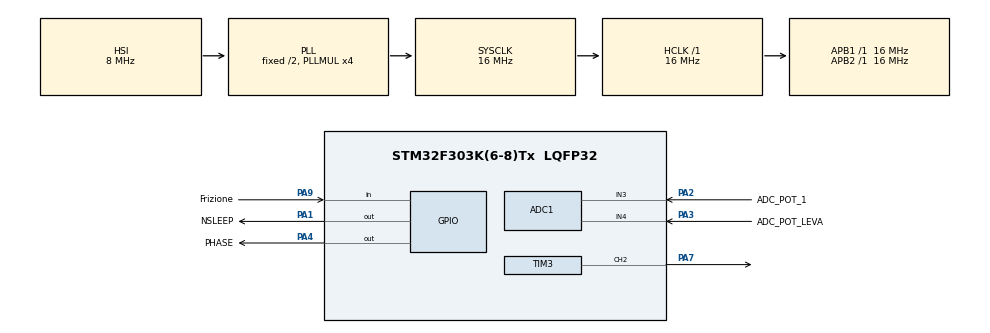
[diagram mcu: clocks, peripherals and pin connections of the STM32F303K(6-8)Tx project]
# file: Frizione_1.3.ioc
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ADC1.Channel-0\#ChannelRegularConversion=ADC_CHANNEL_3
ADC1.Channel-1\#ChannelRegularConversion=ADC_CHANNEL_4
ADC1.ContinuousConvMode=ENABLE
ADC1.DMAContinuousRequests=ENABLE
ADC1.NbrOfConversion=2
ADC1.NbrOfConversionFlag=1
ADC1.Offset-0\#ChannelRegularConversion=0
ADC1.Offset-1\#ChannelRegularConversion=0
ADC1.OffsetNumber-0\#ChannelRegularConversion=ADC_OFFSET_NONE
ADC1.OffsetNumber-1\#ChannelRegularConversion=ADC_OFFSET_NONE
ADC1.Rank-0\#ChannelRegularConversion=1
ADC1.Rank-1\#ChannelRegularConversion=2
ADC1.SamplingTime-0\#ChannelRegularConversion=ADC_SAMPLETIME_181CYCLES_5
ADC1.SamplingTime-1\#ChannelRegularConversion=ADC_SAMPLETIME_181CYCLES_5
ADC1.SubFamily=STM32F303x8
ADC1.master=1
Dma.ADC1.0.Direction=DMA_PERIPH_TO_MEMORY
Dma.ADC1.0.Instance=DMA1_Channel1
Dma.ADC1.0.MemDataAlignment=DMA_MDATAALIGN_WORD
Dma.ADC1.0.MemInc=DMA_MINC_ENABLE
Dma.ADC1.0.Mode=DMA_CIRCULAR
Dma.ADC1.0.PeriphDataAlignment=DMA_PDATAALIGN_HALFWORD
Dma.ADC1.0.PeriphInc=DMA_PINC_DISABLE
Dma.ADC1.0.Priority=DMA_PRIORITY_LOW
Dma.Request0=ADC1
Mcu.Family=STM32F3
Mcu.Name=STM32F303K(6-8)Tx
Mcu.Package=LQFP32
NVIC.DMA1_Channel1_IRQn=true\:0\:0\:false\:false\:true\:false\:true
NVIC.PriorityGroup=NVIC_PRIORITYGROUP_4
PA1.GPIO_Label=NSLEEP
PA1.GPIO_PuPd=GPIO_PULLDOWN
PA1.Signal=GPIO_Output
PA2.GPIO_Label=ADC_POT_1
PA2.Mode=IN3-Single-Ended
PA2.Signal=ADC1_IN3
PA3.GPIO_Label=ADC_POT_LEVA
PA3.Mode=IN4-Single-Ended
PA3.Signal=ADC1_IN4
PA4.GPIO_Label=PHASE
PA4.GPIO_PuPd=GPIO_PULLDOWN
PA4.GPIO_Speed=GPIO_SPEED_FREQ_HIGH
PA4.Signal=GPIO_Output
PA7.Signal=S_TIM3_CH2
PA9.GPIO_Label=Frizione
PA9.GPIO_PuPd=GPIO_PULLDOWN
PA9.Signal=GPIO_Input
ProjectManager.HeapSize=0x200
ProjectManager.StackSize=0x400
ProjectManager.TargetToolchain=STM32CubeIDE
RCC.AHBFreq_Value=16000000
RCC.APB1Freq_Value=16000000
RCC.APB1TimFreq_Value=16000000
RCC.APB2Freq_Value=16000000
RCC.APB2TimFreq_Value=16000000
RCC.CortexFreq_Value=16000000
RCC.HCLKFreq_Value=16000000
RCC.HSE_VALUE=8000000
RCC.HSI_VALUE=8000000
RCC.PLLMUL=RCC_PLL_MUL4
RCC.SYSCLKFreq_VALUE=16000000
RCC.SYSCLKSourceVirtual=RCC_SYSCLKSOURCE_PLLCLK
SH.S_TIM3_CH2.0=TIM3_CH2,PWM Generation2 CH2
TIM3.Channel-PWM\ Generation2\ CH2=TIM_CHANNEL_2
TIM3.Period=799
board=custom

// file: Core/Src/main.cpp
/* USER CODE BEGIN Header */
/**
 ******************************************************************************
 * @file           : main.c
 * @brief          : Main program body
 ******************************************************************************
 * @attention
 *
 * <h2><center>&copy; Copyright (c) 2021 STMicroelectronics.
 * All rights reserved.</center></h2>
 *
 * This software component is licensed by ST under BSD 3-Clause license,
 * the "License"; You may not use this file except in compliance with the
 * License. You may obtain a copy of the License at:
 *                        opensource.org/licenses/BSD-3-Clause
 *
 ******************************************************************************
 */
/* USER CODE END Header */
#include "main.h"
#include "adc.h"
#include "dma.h"
#include "tim.h"
#include "gpio.h"

/* USER CODE BEGIN Includes */
#include "math.h"
#include "PIDLib.h"
#include "SampleFlash.h"
#include "stdbool.h"
#include "stdio.h"

#define ARM_MATH_CM4
#include "../../Drivers/CMSIS/DSP/Include/arm_math.h"

//#define SAMPLEMODE
#define PARTENZAMODE

/* USER CODE END Includes */

/* USER CODE BEGIN PV */
enum_StatoVeicolo StatoVeicolo = BoardSetup;

//ADC
volatile uint32_t Adc_Value[2];

// PID
PID_Controller PID_FrizPOS;
float CAN_BUS_TARGET = 0.1; // usato sempre come target del PID. Non deve scendere sotto 0.1
float posizioneAttuale = 0; // posizione frizione calcolata tramite potenziometro

#ifdef DEBUGFRA
// DEBUG
float PID_TUNING_Kp = 5;
float PID_TUNING_Ki = 0.05;
float PID_TUNING_Max = 0.6f;
float PID_TUNING_Min = -0.5f;
uint8_t PID_TUNING_Sample = 1;
uint16_t forward_Duty_Register = 0;
uint16_t back_Duty_Register = 0;
uint16_t ARR_Value = 0;
uint16_t ARR_Value_Attuale = 0;
uint8_t back = 0;			// 0 oppure 1
float 	back_Duty = 0.4;		// 0.0 to 1.0
uint8_t forward = 0;		// 0 oppure 1
float 	forward_Duty = 0.4; 	// 0.0 to 1.0
float 	Duty_Attuale = 0;
float 	frequenzaPWM = 0;
#endif

/* Security
* CALIBRARE FRIZIONE E LEVA IN stm32f3xx_it.cpp
* TODO: Autocalibrazione frizione?
*/
extern uint8_t 	E_calibrazioneFrizione;
extern uint8_t 	E_calibrazioneLevaFrizione;
extern float  	ufriz_divisore;
extern uint16_t ufriz_P1;
extern uint16_t ufriz_P2;

extern float 	uleva_divisore;
extern uint16_t	uleva_P1;

// Program Variables
float posizioneAttuale_leva = 0;
float posizioneAttuale_leva_last = 0;

// Procedura di partenza
uint8_t 		partenza		= 0; 		// flag partenza
uint32_t  		istanteIniziale	= 0; 		// istante iniziale
uint32_t		timer[3] = {0};

_Punti Punti[5] = {
		{0.5f, 	0},
		{0.28f, 2000},
		{0.20f, 8000},
		{0.1f,  10000},
		{0.1f, 	10001}
};

float Punti_Coeff[4] = {
		(Punti[1].value - Punti[0].value)*1000/(Punti[1].time - Punti[0].time),
		(Punti[2].value - Punti[1].value)*1000/(Punti[2].time - Punti[1].time),
		(Punti[3].value - Punti[2].value)*1000/(Punti[3].time - Punti[2].time),
		(Punti[4].value - Punti[3].value)*1000/(Punti[4].time - Punti[3].time)
};

// FIR filter
float32_t FIR_Array_Sample[10] = {0};
float32_t FIR_Array_Sample2[10] = {0};
float32_t FIR_Array_Filter[10] = {0};
uint8_t FIR_IndexSample = 0;
uint8_t FIR_IndexSample2 = 0;

extern __IO uint32_t uwTick;

// FIR
#define LOW_PASS_FIR_FILTER_LENGHT 5
#define BLOCK_COMPUTE 10
#define NUM_TAPS    10
const float32_t FIR_Filter_Coefficent[LOW_PASS_FIR_FILTER_LENGHT] = {
		0.0355435363596614,
		0.240988385412421,
		0.446936156455835,
		0.240988385412421,
		0.0355435363596614
};
arm_fir_instance_f32 S;
arm_status status;
float32_t  *inputF32, *outputF32;
static float firStateF32[ BLOCK_COMPUTE + NUM_TAPS - 1];
float Filter_Array[10] = {0};
float meanValue_Filtered = 0;
float meanValue_NotFiltered = 0;
float meanValue_Filtered2 = 0;
float meanValue_NotFiltered2 = 0;

uint32_t POT3_Array[10] = {0};
uint32_t POT3_Mean = 0;
uint8_t Index_Mean_POT[3] = {0};
//----------------------------- Sampling variable
extern bool Flash_Write;
extern float PosLeva_array[SAMPLING_ARRAY];
bool start_read = false;
//----------------------------------------------

uint32_t Sicurezza_Debounce = 0;
uint32_t Sicurezza_Debounce1 = 0;
/* USER CODE END PV */

void SystemClock_Config(void);
/* USER CODE BEGIN PFP */
extern void WIRING_CHECK();

void FIR_Filter();
void FRIZ_Homing();
/* USER CODE END PFP */

int main(void)
{

  /* MCU Configuration--------------------------------------------------------*/

  /* Reset of all peripherals, Initializes the Flash interface and the Systick. */
  HAL_Init();

  /* Configure the system clock */
  SystemClock_Config();

  /* Initialize all configured peripherals */
  MX_GPIO_Init();
  MX_DMA_Init();
  MX_ADC1_Init();
  MX_TIM3_Init();
  /* USER CODE BEGIN 2 */
	HAL_ADC_Start_DMA(&hadc1, (uint32_t*) Adc_Value, 2); //Start DMA
	HAL_TIM_PWM_Start(&htim3, TIM_CHANNEL_2); //Start PWM
	arm_fir_init_f32(&S, NUM_TAPS, (float*)FIR_Filter_Coefficent, (float*)firStateF32, BLOCK_COMPUTE);
  /* USER CODE END 2 */

  /* Infinite loop */
	while (1)
	{

    /* USER CODE BEGIN 3 */

		/*
		 * Viene filtrato il POT posizione frizione
		 * Viene filtrato il POT posizione leva frizione
		 */
		static uint32_t FIR_Timer = 0;
		if ( (uwTick >= FIR_Timer + 1) && StatoVeicolo != BoardSetup) { // Funzione chiamata ogni millisecondo
			FIR_Timer = uwTick;
			FIR_Filter();
		}

		switch(StatoVeicolo) {
		case BoardSetup:
			PID_FrizPOS.OutputEnabled = 3;
			FRIZ_Homing();
			break;
		case GuidaManuale:
			CAN_BUS_TARGET = posizioneAttuale_leva;

			if (PID_FrizPOS.OutputEnabled == 0)
				PID_FrizPOS.OutputEnabled = 1;

			if (HAL_GPIO_ReadPin(Frizione_GPIO_Port, Frizione_Pin) == GPIO_PIN_SET) { // entra nel ciclo solo la prima volta
				if (Sicurezza_Debounce1 == 0)
					Sicurezza_Debounce1 = uwTick;
				else if (uwTick >= Sicurezza_Debounce1 + 50) {	// ERRORE
					#ifdef PARTENZAMODE
					StatoVeicolo = GuidaAutonoma;	// procedura di partenza
					partenza = 1;					// procedura di partenza
					#endif
					#ifdef SAMPLEMODE
					start_read = true;				// procedura di sampling
					#endif
				}
			} else {
				Sicurezza_Debounce1 = 0;
			}

			#ifdef SAMPLEMODE
			if(Flash_Write)
			{
				Flash_Write = false;
				start_read = false;
				Flash_Write_Data(FLASH_ADDRESS, (uint32_t *)PosLeva_array, 600);
			}
			#endif

			break;
		case GuidaAutonoma:

			if (PID_FrizPOS.OutputEnabled == 0)
				PID_FrizPOS.OutputEnabled = 1;

			if (HAL_GPIO_ReadPin(Frizione_GPIO_Port, Frizione_Pin) == GPIO_PIN_RESET) { // entra nel ciclo solo la prima volta
				if (Sicurezza_Debounce == 0)
					Sicurezza_Debounce = uwTick;
				else if (uwTick >= Sicurezza_Debounce + 50) {	// ERRORE
					StatoVeicolo = Errore;
					break;
				}
			} else {
				Sicurezza_Debounce = 0;
			}

			switch (partenza) { // partenza rilascio frizione
			case 1: // prima chiamata
				if(posizioneAttuale <= 0.3f)
					CAN_BUS_TARGET = Punti[0].value;
				else {
					partenza = 5;
					istanteIniziale = uwTick;
				}
				break;
			case 2:
				break;
			case 3:
				for (uint8_t i = 0; i < 5; i++) {
					if(i == 4)
					{
						partenza = 4;
						break;
					}
					if(uwTick-istanteIniziale >= Punti[i].time) {
						if(uwTick-istanteIniziale <= Punti[i+1].time)
						{
							float CAN_BUS_TARGET_buffer = Punti[i].value + Punti_Coeff[i]*(uwTick-istanteIniziale-Punti[i].time)/1000;
							if (posizioneAttuale_leva > CAN_BUS_TARGET_buffer)
								CAN_BUS_TARGET = posizioneAttuale_leva;
							else {
								CAN_BUS_TARGET = CAN_BUS_TARGET_buffer;
							}
							break;
						}
					}
				}
				break;
			case 4: // Procedura Finita
				CAN_BUS_TARGET = posizioneAttuale_leva;
				break;

			case 5: // Aspetta 5 secondi
				if (uwTick - istanteIniziale > 5000) {
					istanteIniziale=uwTick;
					partenza = 3;
				}
				break;
			}

			break;
		case Errore:
			if (timer[0] == 0) {
				timer[0] = uwTick;
				CAN_BUS_TARGET = 0.5f;
			}
			else if (uwTick - timer[0] > 1000) {
				CAN_BUS_TARGET = 0.3f;
			}
			if (PID_FrizPOS.OutputEnabled == 0)
				PID_FrizPOS.OutputEnabled = 1;
			break;
		default:
			break;
		}

#ifdef DEBUGFRA
		// DEBUG, DA NON METTERE NEL CODICE FINALE
		//		PID_FrizPOS.Kp_f = PID_TUNING_Kp;
		//		PID_FrizPOS.Ki_f = PID_TUNING_Ki;
		//		PID_FrizPOS.Max_out_f = PID_TUNING_Max;
		//		PID_FrizPOS.Min_out_f = PID_TUNING_Min;
		//		PID_FrizPOS.Sample_time = PID_TUNING_Sample;

		ARR_Value_Attuale = TIM3->ARR;
		frequenzaPWM = 16000/(ARR_Value + 1);

		forward_Duty_Register = forward_Duty*799;
		back_Duty_Register = back_Duty*799;

		Duty_Attuale = (PHASE_Flag_indicator) ? ((float)TIM3->CCR2 / 799.0f) : -((float)TIM3->CCR2 / 799.0f);

		if (forward_Duty_Register > 799 || back_Duty_Register > 799)
			Error_Handler();

		if (back && !forward) {  // back --> Control_Phase = back = 0
			TIM3->CCR2 = back_Duty_Register;
			NSLEEP_GPIO_Port->BSRR = NSLEEP_Pin;
			HAL_GPIO_WritePin(PHASE_GPIO_Port, PHASE_Pin, back_PHASE);
			PHASE_Flag_indicator = 0;
		}
		else if (!back && forward) { // forward --> Control_Phase = forward = 1
			TIM3->CCR2 = forward_Duty_Register;
			NSLEEP_GPIO_Port->BSRR = NSLEEP_Pin;
			HAL_GPIO_WritePin(PHASE_GPIO_Port, PHASE_Pin, forward_PHASE);
			PHASE_Flag_indicator = 1;
		}
		else if (!back && !forward && !AS_Ready) {
			TIM3->CCR2 = 0;
			NSLEEP_GPIO_Port->BRR = NSLEEP_Pin;
		}

		else
			Error_Handler();

		// FINE DEBUG
#endif
	}
  /* USER CODE END 3 */
}

void SystemClock_Config(void)
{
  RCC_OscInitTypeDef RCC_OscInitStruct = {0};
  RCC_ClkInitTypeDef RCC_ClkInitStruct = {0};
  RCC_PeriphCLKInitTypeDef PeriphClkInit = {0};

  /** Initializes the RCC Oscillators according to the specified parameters
  * in the RCC_OscInitTypeDef structure.
  */
  RCC_OscInitStruct.OscillatorType = RCC_OSCILLATORTYPE_HSI;
  RCC_OscInitStruct.HSIState = RCC_HSI_ON;
  RCC_OscInitStruct.HSICalibrationValue = RCC_HSICALIBRATION_DEFAULT;
  RCC_OscInitStruct.PLL.PLLState = RCC_PLL_ON;
  RCC_OscInitStruct.PLL.PLLSource = RCC_PLLSOURCE_HSI;
  RCC_OscInitStruct.PLL.PLLMUL = RCC_PLL_MUL4;
  if (HAL_RCC_OscConfig(&RCC_OscInitStruct) != HAL_OK)
  {
    Error_Handler();
  }
  /** Initializes the CPU, AHB and APB buses clocks
  */
  RCC_ClkInitStruct.ClockType = RCC_CLOCKTYPE_HCLK|RCC_CLOCKTYPE_SYSCLK
                              |RCC_CLOCKTYPE_PCLK1|RCC_CLOCKTYPE_PCLK2;
  RCC_ClkInitStruct.SYSCLKSource = RCC_SYSCLKSOURCE_PLLCLK;
  RCC_ClkInitStruct.AHBCLKDivider = RCC_SYSCLK_DIV1;
  RCC_ClkInitStruct.APB1CLKDivider = RCC_HCLK_DIV1;
  RCC_ClkInitStruct.APB2CLKDivider = RCC_HCLK_DIV1;

  if (HAL_RCC_ClockConfig(&RCC_ClkInitStruct, FLASH_LATENCY_0) != HAL_OK)
  {
    Error_Handler();
  }
  PeriphClkInit.PeriphClockSelection = RCC_PERIPHCLK_ADC12;
  PeriphClkInit.Adc12ClockSelection = RCC_ADC12PLLCLK_DIV1;
  if (HAL_RCCEx_PeriphCLKConfig(&PeriphClkInit) != HAL_OK)
  {
    Error_Handler();
  }
}

/* USER CODE BEGIN 4 */
void FIR_Filter() {
	if (Index_Mean_POT[2] == 10) { // Campionati 10 valori
		Index_Mean_POT[2] = 0;
		POT3_Mean = 0;
		for (uint8_t i  = 0; i < 10; i++)
			POT3_Mean += POT3_Array[i];
		POT3_Mean = POT3_Mean/10;

		// CALCOLO POSIZIONE LEVA FRIZIONE
		float posizioneAttuale_leva_buffer = float((POT3_Mean - uleva_P1))/uleva_divisore;
		if (posizioneAttuale_leva_buffer >= 0.1 && posizioneAttuale_leva_buffer <= 0.9) { // saturazione sulla posizione calcolata
			posizioneAttuale_leva =  posizioneAttuale_leva_buffer;
			posizioneAttuale_leva_last = posizioneAttuale_leva;
		}
		else {
			posizioneAttuale_leva = (posizioneAttuale_leva_last >= 0.50) ? 0.9 : 0.1;
		}
	} else {
		POT3_Array[Index_Mean_POT[2]] = Adc_Value[POT_3];
		Index_Mean_POT[2]++;
	}

	if (FIR_IndexSample < 10) {
		int32_t bufferPreFIR = (Adc_Value[POT_1] - ufriz_P1);
		FIR_Array_Sample[FIR_IndexSample++] = bufferPreFIR > 50 ? bufferPreFIR/ufriz_divisore : 0.05f;
	} else {
		FIR_IndexSample = 0;

		arm_fir_f32(&S, &FIR_Array_Sample[0], &Filter_Array[0], BLOCK_COMPUTE);

		for(int i = 0; i < 10; i++)
		{
			meanValue_Filtered += Filter_Array[i];
			meanValue_NotFiltered += FIR_Array_Sample[i];
		}
		meanValue_Filtered = meanValue_Filtered/10;
		meanValue_NotFiltered = meanValue_NotFiltered/10;

		posizioneAttuale = meanValue_Filtered;

		PID_FrizPOS.lastTimer = uwTick;
		PID_FrizPOS.PID_Call(CAN_BUS_TARGET, posizioneAttuale);
	}
}

void FRIZ_Homing() {
	static uint32_t timerHoming_F = 0;
	static uint32_t timerHoming_B = 0;
	if (!timerHoming_F && !timerHoming_B) {
		timerHoming_F = uwTick;
		TIM3->CCR2 = 330;
		PHASE_GPIO_Port->BSRR = PHASE_Pin;
		NSLEEP_GPIO_Port->BSRR = NSLEEP_Pin;
	} else if (timerHoming_F && !timerHoming_B) {
		if (uwTick - timerHoming_F > 3000) {
			ufriz_P2 = Adc_Value[POT_1];
			timerHoming_B = uwTick;
			timerHoming_F = 0;
			TIM3->CCR2 = 100;
			PHASE_GPIO_Port->BRR = PHASE_Pin;
			NSLEEP_GPIO_Port->BSRR = NSLEEP_Pin;
		}
	} else if (!timerHoming_F && timerHoming_B) {
		if (uwTick - timerHoming_B > 1500) {
			ufriz_P1 = Adc_Value[POT_1];
			timerHoming_B = 0;
			timerHoming_F = 0;
			TIM3->CCR2 = 0;
			PHASE_GPIO_Port->BSRR = PHASE_Pin;
			NSLEEP_GPIO_Port->BRR = NSLEEP_Pin;
			PID_FrizPOS.OutputEnabled = 0;

			WIRING_CHECK();
			if (E_calibrazioneFrizione)
				while(1) {} // errore
			if (E_calibrazioneLevaFrizione)
				while(1) {} // errore

			StatoVeicolo = GuidaManuale;
		}
	}
}
/* USER CODE END 4 */

void Error_Handler(void)
{
  /* USER CODE BEGIN Error_Handler_Debug */
	/* User can add his own implementation to report the HAL error return state */
	if (StatoVeicolo == GuidaAutonoma)
		StatoVeicolo = Errore;
  /* USER CODE END Error_Handler_Debug */
}

/************************ (C) COPYRIGHT STMicroelectronics *****END OF FILE****/
